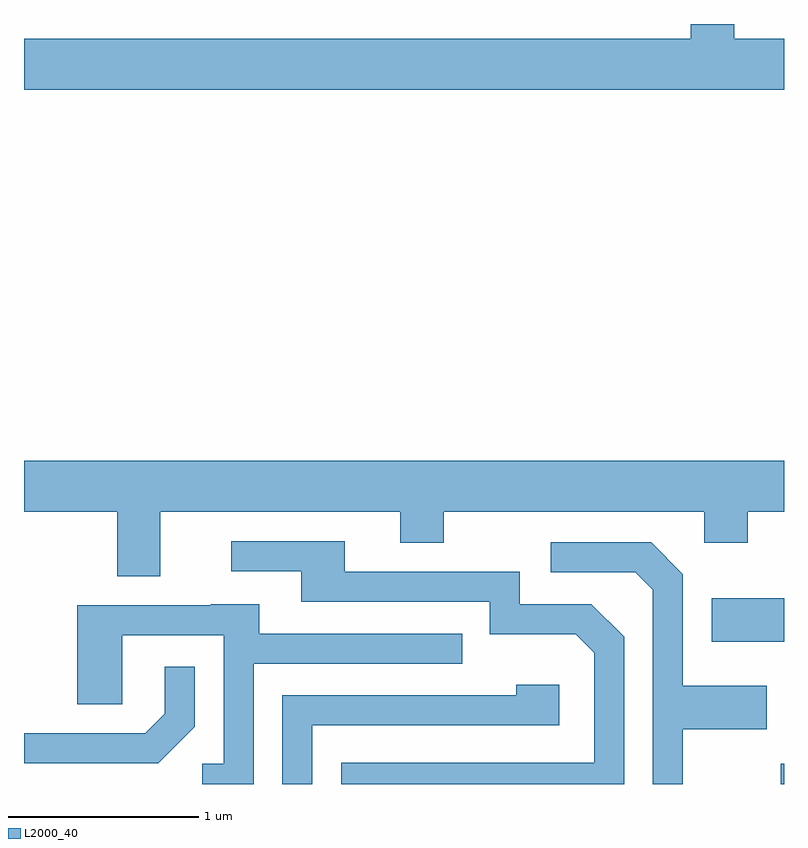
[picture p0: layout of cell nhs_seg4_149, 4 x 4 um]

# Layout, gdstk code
import gdstk
lib = gdstk.Library(unit=1e-6, precision=1e-09)
def R(c, l, rs):  # rectangles x0, y0, x1, y1
    for r in rs: c.add(gdstk.rectangle(r[:2], r[2:], *l))
def P(c, l, *ps):  # polygons
    for p in ps: c.add(gdstk.Polygon(p, *l))
L2000_40 = (2000, 40)

nhs_seg4_149 = lib.new_cell('nhs_seg4_149')
R(nhs_seg4_149, L2000_40, [(193.593,1279.982,193.611,1280.089), (193.231,1280.731,193.611,1280.959)])
P(nhs_seg4_149, L2000_40, [(193.611,1283.904),(193.349,1283.904),(193.349,1283.982),(193.121,1283.982),(193.121,1283.904),(189.611,1283.904),(189.611,1283.636),(193.611,1283.636)],
  [(190.329,1281.416),(191.591,1281.416),(191.591,1281.251),(191.819,1281.251),(191.819,1281.416),(193.191,1281.416),(193.191,1281.251),(193.419,1281.251),(193.419,1281.416),(193.611,1281.416),(193.611,1281.684),(189.611,1281.684),(189.611,1281.416),(190.101,1281.416),(190.101,1281.076),(190.329,1281.076)],
  [(192.769,1280.757),(192.597,1280.929),(192.219,1280.929),(192.219,1281.099),(191.299,1281.099),(191.299,1281.259),(190.703,1281.259),(190.703,1281.101),(191.071,1281.101),(191.071,1280.941),(192.061,1280.941),(192.061,1280.771),(192.514,1280.771),(192.611,1280.674),(192.611,1280.094),(191.281,1280.094),(191.281,1279.982),(192.769,1279.982)],
  [(193.079,1280.271),(193.519,1280.271),(193.519,1280.499),(193.079,1280.499),(193.079,1281.087),(192.912,1281.254),(192.383,1281.254),(192.383,1281.096),(192.829,1281.096),(192.921,1281.004),(192.921,1279.982),(193.079,1279.982)],
  [(190.819,1280.616),(191.918,1280.616),(191.918,1280.774),(190.849,1280.774),(190.849,1280.929),(190.595,1280.929),(190.595,1280.924),(189.891,1280.924),(189.891,1280.401),(190.129,1280.401),(190.129,1280.766),(190.661,1280.766),(190.661,1280.089),(190.548,1280.089),(190.548,1279.982),(190.819,1279.982)],
  [(190.509,1280.284),(190.509,1280.598),(190.351,1280.598),(190.351,1280.352),(190.249,1280.249),(189.611,1280.249),(189.611,1280.091),(190.317,1280.091)],
  [(191.129,1280.291),(192.429,1280.291),(192.429,1280.504),(192.201,1280.504),(192.201,1280.449),(190.971,1280.449),(190.971,1279.982),(191.129,1279.982)])

lib.write_gds('nhs_seg4_149.gds')
